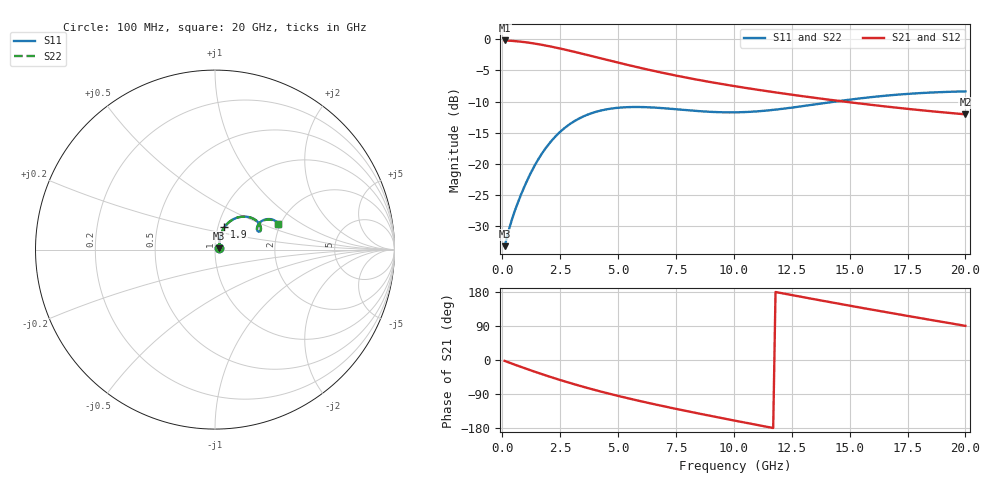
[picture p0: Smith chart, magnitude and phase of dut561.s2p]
! Touchstone file exported from HFSS 2024.1.0
!  File:  C:/UserFiles/LocalFiles/RDL_TSV_Batchsim/temp_RDL_TSV_561_1779752149.aedt
!  Generated:  07:52:48 AM May 26, 2026
!  Design:  RDL_TSV
!  Project:  temp_RDL_TSV_561_1779752149
!  Setup:  Setup1
!  Solution:  Sweep
! Variables:
!  dtsv = 9.17um
!  hbump = 3um
!  htsv = 55.73um
!  ldown = 572.28um
!  lrdl = 652.1um
!  p = 40
!  p1 = 58.56um
!  rhole = 10um
!  subl = 4325.24um
!  t = 450um
!  tdown = 4.36um
!  trdl = 2.68um
!  viad = 10um
!  wdown = 23.47um
!  wrdl = 25.02um
!  xbump = 18um
# GHz S MA R 50.000000
! Terminal data exported
! Port[1] = TM1_1_T1
! Port[2] = TM1_4_T1
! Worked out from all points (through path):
!   200 points, 100 MHz to 20 GHz, reference 50 ohm
!   highest |S21| = -0.18 dB at 100 MHz (marker M1); lowest = -12.1 dB at 20 GHz (marker M2)
!   group delay of S21, straight-line fit = 35.5 ps
!   lowest |S11| = -33.3 dB at 100 MHz (marker M3), VSWR 1.04, Z = 52.1 + j0.747 ohm
!   |S11| at or under -10 dB: start of sweep to 14.39 GHz
!   |S22| runs from -33.3 to -8.4 dB; largest |S21 - S12| = 8.4e-15
!   S11 on the Smith chart (normalised r, x): 100 MHz: 1.04, +0.01; 1.9 GHz: 1.07, +0.27; 20 GHz: 1.94, +0.66
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0.1  0.02172 19.3  0.9792 -2.3  0.9792 -2.3  0.02172 19.3
! Gamma 0 0 0 0
! Port Impedance 50 0 50 0
0.4  0.03483 47.6  0.9722 -9.2  0.9722 -9.2  0.03483 47.6
0.6  0.04481 56.3  0.9655 -13.7  0.9655 -13.7  0.04481 56.3
0.9  0.06202 64.3  0.9527 -20.2  0.9527 -20.2  0.06201 64.3
1.4  0.09667 68.9  0.9243 -30.9  0.9243 -30.9  0.09662 68.8
1.9  0.1353 67.2  0.8896 -41.1  0.8896 -41.1  0.1352 67.2
2.3  0.1659 63.8  0.859 -49.0  0.859 -49.0  0.1658 63.7
2.7  0.1943 59.4  0.8271 -56.6  0.8271 -56.6  0.1941 59.4
3.5  0.2398 50.0  0.7622 -70.8  0.7622 -70.8  0.2397 50.0
4.3  0.2687 41.3  0.7 -84.0  0.7 -84.0  0.2686 41.3
5.1  0.2827 34.1  0.6432 -96.2  0.6432 -96.2  0.2827 34.0
5.9  0.2856 28.5  0.5929 -107.7  0.5929 -107.7  0.2858 28.5
6.8  0.2808 24.4  0.5441 -119.9  0.5441 -119.9  0.2811 24.3
7.6  0.2731 22.5  0.5068 -130.2  0.5068 -130.2  0.2735 22.3
8.4  0.2654 22.1  0.4744 -140.2  0.4744 -140.2  0.2659 21.9
10.1  0.2588 25.1  0.4182 -160.7  0.4182 -160.7  0.2592 24.8
11.6  0.2695 28.9  0.3789 -178.3  0.3789 -178.3  0.2695 28.5
13.4  0.2979 31.3  0.3403 161.2  0.3403 161.2  0.2974 30.9
15  0.3273 30.9  0.3118 143.4  0.3118 143.4  0.3263 30.5
16.7  0.3542 28.5  0.2864 124.9  0.2864 124.9  0.3529 28.1
18.3  0.3717 25.6  0.2665 107.9  0.2665 107.9  0.37 25.2
20  0.3813 22.4  0.2494 90.1  0.2494 90.1  0.3793 22.0
